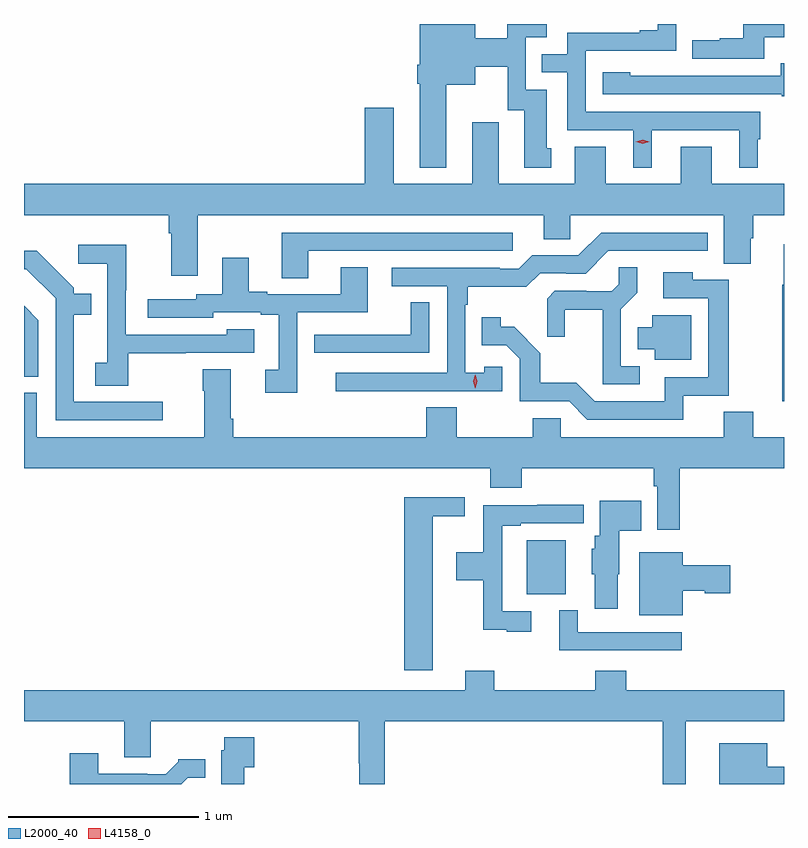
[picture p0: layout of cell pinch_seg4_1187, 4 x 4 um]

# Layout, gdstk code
import gdstk
lib = gdstk.Library(unit=1e-6, precision=1e-09)
def R(c, l, rs):  # rectangles x0, y0, x1, y1
    for r in rs: c.add(gdstk.rectangle(r[:2], r[2:], *l))
def P(c, l, *ps):  # polygons
    for p in ps: c.add(gdstk.Polygon(p, *l))
L2000_40 = (2000, 40)
L4158_0 = (4158, 0)

pinch_seg4_1187 = lib.new_cell('pinch_seg4_1187')
R(pinch_seg4_1187, L2000_40, [(335.825,802.817,336.031,803.101)])
P(pinch_seg4_1187, L2000_40, [(335.401,805.499),(335.554,805.499),(335.554,805.592),(335.724,805.592),(335.724,805.365),(335.813,805.365),(335.813,805.062),(335.953,805.062),(335.953,805.164),(335.929,805.164),(335.929,805.473),(335.82,805.473),(335.82,805.749),(335.929,805.749),(335.929,805.818),(335.723,805.818),(335.723,805.744),(335.554,805.744),(335.554,805.818),(335.261,805.818),(335.261,805.603),(335.249,805.603),(335.249,805.503),(335.261,805.503),(335.261,805.061),(335.401,805.061)],
  [(337.075,805.748),(337.179,805.748),(337.179,805.818),(336.965,805.818),(336.965,805.744),(336.841,805.744),(336.841,805.732),(336.697,805.732),(336.697,805.635),(337.075,805.635)],
  [(336.484,805.26),(336.944,805.26),(336.944,805.061),(337.042,805.061),(337.042,805.212),(337.054,805.212),(337.054,805.356),(336.135,805.356),(336.135,805.677),(336.612,805.677),(336.612,805.818),(336.514,805.818),(336.514,805.786),(336.419,805.786),(336.419,805.773),(336.039,805.773),(336.039,805.659),(335.905,805.659),(335.905,805.563),(336.039,805.563),(336.039,805.26),(336.386,805.26),(336.386,805.061),(336.484,805.061)],
  [(337.179,805.612),(337.163,805.612),(337.163,805.545),(336.605,805.545),(336.605,805.546),(336.369,805.546),(336.369,805.564),(336.225,805.564),(336.225,805.449),(337.167,805.449),(337.167,805.437),(337.179,805.437)],
  [(334.093,804.812),(335.915,804.812),(335.915,804.685),(336.054,804.685),(336.054,804.812),(336.863,804.812),(336.863,804.556),(337.003,804.556),(337.003,804.69),(337.016,804.69),(337.016,804.812),(337.179,804.812),(337.179,804.976),(336.799,804.976),(336.799,805.171),(336.635,805.171),(336.635,804.976),(336.241,804.976),(336.241,805.171),(336.077,805.171),(336.077,804.976),(335.677,804.976),(335.677,805.3),(335.537,805.3),(335.537,804.976),(335.125,804.976),(335.125,805.378),(334.973,805.378),(334.973,804.976),(333.179,804.976),(333.179,804.812),(333.941,804.812),(333.941,804.716),(333.953,804.716),(333.953,804.492),(334.093,804.492)],
  [(334.675,804.624),(335.752,804.624),(335.752,804.72),(334.535,804.72),(334.535,804.481),(334.675,804.481)],
  [(335.213,803.886),(335.697,803.886),(335.697,804.015),(335.601,804.015),(335.601,803.983),(335.502,803.983),(335.502,804.341),(335.515,804.341),(335.515,804.434),(335.822,804.434),(335.895,804.507),(336.034,804.507),(336.034,804.504),(336.135,804.504),(336.255,804.624),(336.778,804.624),(336.778,804.72),(336.216,804.72),(336.096,804.6),(335.853,804.6),(335.784,804.531),(335.684,804.531),(335.684,804.534),(335.115,804.534),(335.115,804.438),(335.406,804.438),(335.406,803.982),(334.821,803.982),(334.821,803.884),(335.213,803.884)],
  [(337.179,804.658),(337.178,804.658),(337.178,804.445),(337.171,804.445),(337.171,803.832),(337.179,803.832)],
  [(333.727,804.085),(334.031,804.085),(334.031,804.087),(334.39,804.087),(334.39,804.211),(334.245,804.211),(334.245,804.183),(333.714,804.183),(333.714,804.416),(333.717,804.416),(333.717,804.655),(333.465,804.655),(333.465,804.557),(333.618,804.557),(333.618,804.036),(333.555,804.036),(333.555,803.914),(333.727,803.914)],
  [(333.91,803.829),(333.442,803.829),(333.442,804.288),(333.533,804.288),(333.533,804.397),(333.441,804.397),(333.441,804.429),(333.246,804.624),(333.179,804.624),(333.179,804.528),(333.192,804.528),(333.345,804.375),(333.345,803.733),(333.91,803.733)],
  [(334.617,804.3),(334.987,804.3),(334.987,804.539),(334.847,804.539),(334.847,804.396),(334.459,804.396),(334.459,804.409),(334.363,804.409),(334.363,804.589),(334.223,804.589),(334.223,804.396),(334.086,804.396),(334.086,804.369),(333.831,804.369),(333.831,804.273),(334.176,804.273),(334.176,804.3),(334.424,804.3),(334.424,804.288),(334.52,804.288),(334.52,803.997),(334.449,803.997),(334.449,803.877),(334.617,803.877)],
  [(336.421,804.018),(336.321,804.018),(336.321,804.317),(336.407,804.403),(336.407,804.539),(336.309,804.539),(336.309,804.448),(336.272,804.411),(336.138,804.411),(336.138,804.414),(335.973,804.414),(335.932,804.373),(335.932,804.171),(336.026,804.171),(336.026,804.314),(336.224,804.314),(336.224,803.922),(336.421,803.922)],
  [(336.65,803.862),(336.889,803.862),(336.889,804.471),(336.699,804.471),(336.699,804.511),(336.543,804.511),(336.543,804.375),(336.78,804.375),(336.78,803.958),(336.551,803.958),(336.551,803.832),(336.183,803.832),(336.085,803.931),(335.896,803.931),(335.896,804.086),(335.758,804.224),(335.688,804.224),(335.688,804.274),(335.587,804.274),(335.587,804.126),(335.718,804.126),(335.787,804.057),(335.787,803.832),(336.048,803.832),(336.144,803.736),(336.65,803.736)],
  [(335.313,804.353),(335.215,804.353),(335.215,804.183),(334.819,804.183),(334.819,804.182),(334.707,804.182),(334.707,804.087),(335.313,804.087)],
  [(333.255,804.259),(333.179,804.335),(333.179,803.961),(333.255,803.961)],
  [(336.691,804.286),(336.485,804.286),(336.485,804.223),(336.41,804.223),(336.41,804.107),(336.5,804.107),(336.5,804.05),(336.691,804.05)],
  [(336.629,803.48),(337.179,803.48),(337.179,803.644),(337.016,803.644),(337.016,803.777),(336.863,803.777),(336.863,803.644),(336.003,803.644),(336.003,803.742),(335.857,803.742),(335.857,803.644),(335.457,803.644),(335.457,803.801),(335.297,803.801),(335.297,803.644),(334.28,803.644),(334.28,803.74),(334.267,803.74),(334.267,804.001),(334.12,804.001),(334.12,803.888),(334.127,803.888),(334.127,803.644),(333.247,803.644),(333.247,803.876),(333.179,803.876),(333.179,803.48),(335.633,803.48),(335.633,803.378),(335.798,803.378),(335.798,803.48),(336.493,803.48),(336.493,803.384),(336.513,803.384),(336.513,803.157),(336.629,803.157)],
  [(335.329,803.228),(335.5,803.228),(335.5,803.326),(335.18,803.326),(335.18,802.416),(335.329,802.416)],
  [(336.304,802.923),(336.313,802.923),(336.313,803.15),(336.428,803.15),(336.428,803.308),(336.209,803.308),(336.209,803.124),(336.182,803.124),(336.182,803.055),(336.167,803.055),(336.167,802.923),(336.182,802.923),(336.182,802.74),(336.304,802.74)],
  [(335.848,802.728),(335.697,802.728),(335.697,803.178),(335.794,803.178),(335.794,803.19),(336.124,803.19),(336.124,803.288),(335.881,803.288),(335.881,803.286),(335.596,803.286),(335.596,803.038),(335.454,803.038),(335.454,802.891),(335.596,802.891),(335.596,802.631),(335.72,802.631),(335.72,802.62),(335.848,802.62)],
  [(336.646,802.835),(336.762,802.835),(336.762,802.823),(336.895,802.823),(336.895,802.97),(336.646,802.97),(336.646,803.038),(336.416,803.038),(336.416,802.706),(336.646,802.706)],
  [(336.64,802.617),(336.093,802.617),(336.093,802.732),(335.996,802.732),(335.996,802.521),(336.64,802.521)],
  [(333.179,802.148),(333.707,802.148),(333.707,801.958),(333.847,801.958),(333.847,802.148),(334.942,802.148),(334.942,801.928),(334.943,801.928),(334.943,801.818),(335.078,801.818),(335.078,802.148),(336.54,802.148),(336.54,801.818),(336.661,801.818),(336.661,802.148),(337.179,802.148),(337.179,802.312),(336.35,802.312),(336.35,802.414),(336.185,802.414),(336.185,802.312),(335.654,802.312),(335.654,802.414),(335.501,802.414),(335.501,802.312),(333.179,802.312)],
  [(334.339,801.907),(334.391,801.907),(334.391,802.063),(334.234,802.063),(334.234,801.996),(334.217,801.996),(334.217,801.818),(334.339,801.818)],
  [(337.179,801.91),(337.09,801.91),(337.09,802.033),(336.839,802.033),(336.839,801.818),(337.179,801.818)],
  [(334.041,801.852),(334.132,801.852),(334.132,801.949),(333.99,801.949),(333.99,801.934),(333.926,801.87),(333.827,801.87),(333.827,801.873),(333.571,801.873),(333.571,801.979),(333.419,801.979),(333.419,801.818),(334.007,801.818)])
P(pinch_seg4_1187, L4158_0, [(335.554,803.901),(335.554,803.902),(335.544,803.937),(335.554,803.973),(335.554,803.973),(335.554,803.973),(335.564,803.937),(335.554,803.902)],
  [(336.435,805.189),(336.399,805.198),(336.399,805.199),(336.399,805.199),(336.435,805.209),(336.471,805.199),(336.471,805.199),(336.471,805.198)])

lib.write_gds('pinch_seg4_1187.gds')
